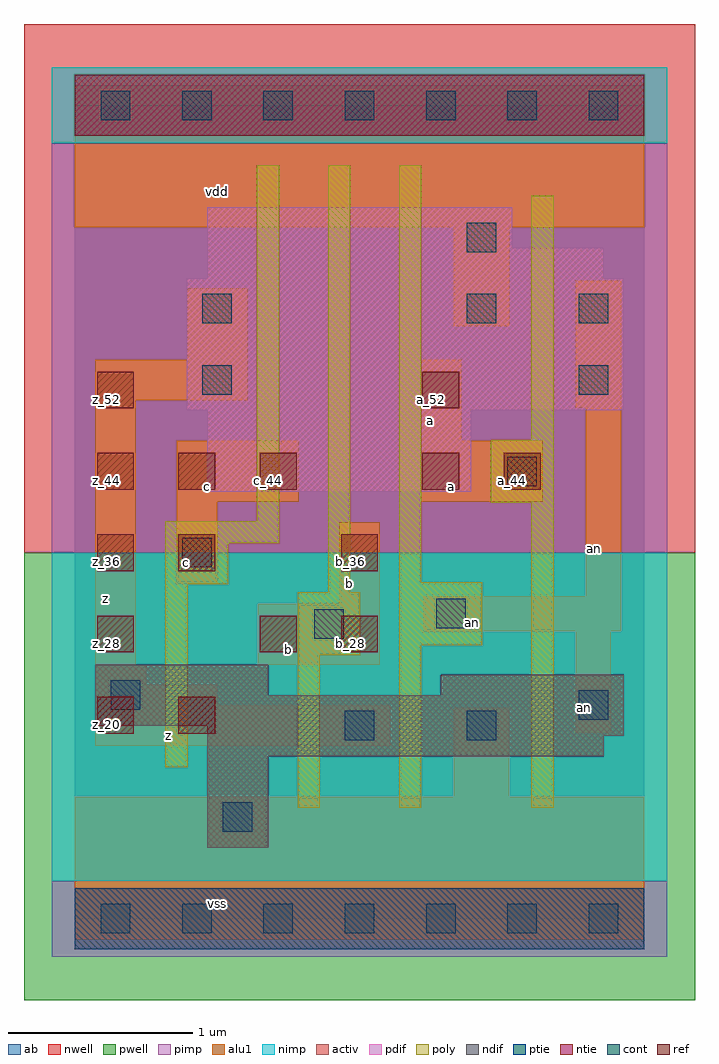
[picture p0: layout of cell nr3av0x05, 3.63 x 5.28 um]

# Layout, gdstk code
import gdstk
lib = gdstk.Library(unit=1e-6, precision=2.5e-09)
def R(c, l, rs):  # rectangles x0, y0, x1, y1
    for r in rs: c.add(gdstk.rectangle(r[:2], r[2:], *l))
def A(c, l, x, y, w, h, nx, ny, dx, dy):  # array of equal rectangles
    R(c, l, [(x+i*dx, y+j*dy, x+i*dx+w, y+j*dy+h) for i in range(nx) for j in range(ny)])
ndif = (3, 0)
pdif = (4, 0)
ntie = (5, 0)
ptie = (6, 0)
ref = (24, 0)
cont = (25, 0)
pwell = (41, 0)
nwell = (42, 0)
activ = (43, 0)
pimp = (44, 0)
nimp = (45, 0)
poly = (46, 0)
alu1 = (49, 0)
ab = (63, 0)

nr3av0x05 = lib.new_cell('nr3av0x05')
R(nr3av0x05, ndif, [(0.715,0.385,1.045,0.88), (0.715,0.88,2.86,0.99), (0.715,0.99,2.97,1.045), (0.11,1.045,2.97,1.21), (0.11,1.21,1.045,1.375), (1.98,1.21,2.97,1.32)])
R(nr3av0x05, pdif, [(0.715,2.31,2.145,2.75), (0.605,2.75,2.97,3.465), (0.715,3.465,2.86,3.63), (0.715,3.63,2.365,3.85)])
R(nr3av0x05, ntie, [(0,4.235,3.08,4.565)])
R(nr3av0x05, ptie, [(0,-0.165,3.08,0.165)])
A(nr3av0x05, ref, 0.12, 1, 0.2, 0.2, 1, 3, 0, 0.44)
A(nr3av0x05, ref, 0.12, 2.32, 0.2, 0.2, 3, 1, 0.44, 0)
R(nr3av0x05, ref, [(0.56,1,0.76,1.2), (1,1.44,1.2,1.64), (1.44,1.44,1.64,1.64), (0.56,1.88,0.76,2.08), (1.44,1.88,1.64,2.08), (1.88,2.32,2.08,2.52), (2.32,2.32,2.52,2.52), (0.12,2.76,0.32,2.96), (1.88,2.76,2.08,2.96)])
A(nr3av0x05, cont, 0.14, -0.08, 0.16, 0.16, 7, 2, 0.44, 4.4)
R(nr3av0x05, cont, [(0.8,0.47,0.96,0.63), (1.46,0.965,1.62,1.125), (2.12,0.965,2.28,1.125), (2.725,1.075,2.885,1.235), (0.195,1.13,0.355,1.29), (1.295,1.515,1.455,1.675), (1.955,1.57,2.115,1.73), (0.58,1.9,0.74,2.06), (2.34,2.34,2.5,2.5), (0.69,2.835,0.85,2.995), (2.725,2.835,2.885,2.995), (0.69,3.22,0.85,3.38), (2.12,3.22,2.28,3.38), (2.725,3.22,2.885,3.38), (2.12,3.605,2.28,3.765)])
R(nr3av0x05, pwell, [(-0.275,-0.44,3.355,1.98)])
R(nr3av0x05, nwell, [(-0.275,1.98,3.355,4.84)])
R(nr3av0x05, activ, [(0,-0.165,3.08,0.165), (0.715,0.385,1.045,0.88), (0.715,0.88,2.86,0.99), (0.715,0.99,2.97,1.045), (0.11,1.045,2.97,1.21), (0.11,1.21,1.045,1.375), (1.98,1.21,2.97,1.32), (0.715,2.31,2.145,2.75), (0.605,2.75,2.97,3.465), (0.715,3.465,2.86,3.63), (0.715,3.63,2.365,3.85), (0,4.235,3.08,4.565)])
R(nr3av0x05, pimp, [(-0.125,-0.205,3.205,0.205), (-0.125,1.98,3.205,4.195)])
R(nr3av0x05, nimp, [(-0.125,0.205,3.205,1.98), (-0.125,4.195,3.205,4.605)])
R(nr3av0x05, poly, [(1.205,0.6,1.325,1.425), (1.755,0.6,1.875,1.48), (2.47,0.6,2.59,2.25), (0.49,0.82,0.61,1.81), (1.205,1.425,1.545,1.765), (1.755,1.48,2.205,1.82), (1.37,1.765,1.49,4.075), (0.49,1.81,0.83,2.03), (1.755,1.82,1.875,4.075), (0.49,2.03,1.105,2.15), (0.985,2.15,1.105,4.075), (2.25,2.25,2.59,2.59), (2.47,2.59,2.59,3.91)])
R(nr3av0x05, alu1, [(0,-0.11,3.08,0.66), (2.05,0.66,2.35,1.14), (0.11,0.935,1.705,1.155), (2.71,1.005,2.9,1.555), (0.11,1.155,0.77,1.265), (0.11,1.265,0.385,1.375), (0.11,1.375,0.33,2.805), (0.99,1.375,1.65,1.705), (1.885,1.555,2.955,1.745), (1.43,1.705,1.65,2.145), (2.765,1.745,2.955,2.765), (0.55,1.815,0.77,2.255), (0.55,2.255,1.21,2.585), (1.87,2.255,2.53,2.585), (1.87,2.585,2.09,3.025), (2.71,2.765,2.955,3.45), (0.11,2.805,0.935,3.025), (0.605,3.025,0.935,3.41), (2.05,3.205,2.35,3.74), (0,3.74,3.08,4.51)])
R(nr3av0x05, ab, [(0,0,3.08,4.4)])
nr3av0x05.add(gdstk.Label('vss', (0.77,0.0825), layer=49, texttype=0))
nr3av0x05.add(gdstk.Label('an', (2.7575,1.1425), layer=49, texttype=0))
nr3av0x05.add(gdstk.Label('z', (0.5075,0.99), layer=49, texttype=0))
nr3av0x05.add(gdstk.Label('an', (2.1525,1.6025), layer=49, texttype=0))
nr3av0x05.add(gdstk.Label('b', (1.155,1.4575), layer=49, texttype=0))
nr3av0x05.add(gdstk.Label('an', (2.8125,2), layer=49, texttype=0))
nr3av0x05.add(gdstk.Label('b', (1.485,1.815), layer=49, texttype=0))
nr3av0x05.add(gdstk.Label('c', (0.605,1.925), layer=49, texttype=0))
nr3av0x05.add(gdstk.Label('a', (2.035,2.3375), layer=49, texttype=0))
nr3av0x05.add(gdstk.Label('c', (0.715,2.3375), layer=49, texttype=0))
nr3av0x05.add(gdstk.Label('a', (1.925,2.695), layer=49, texttype=0))
nr3av0x05.add(gdstk.Label('z', (0.165,1.7325), layer=49, texttype=0))
nr3av0x05.add(gdstk.Label('vdd', (0.77,3.9325), layer=49, texttype=0))
nr3av0x05.add(gdstk.Label('a_52', (1.93,2.81), layer=24, texttype=0))
nr3av0x05.add(gdstk.Label('z_20', (0.17,1.05), layer=24, texttype=0))
nr3av0x05.add(gdstk.Label('z_20', (0.61,1.05), layer=24, texttype=0))
nr3av0x05.add(gdstk.Label('c_36', (0.61,1.93), layer=24, texttype=0))
nr3av0x05.add(gdstk.Label('c_44', (0.61,2.37), layer=24, texttype=0))
nr3av0x05.add(gdstk.Label('z_28', (0.17,1.49), layer=24, texttype=0))
nr3av0x05.add(gdstk.Label('z_36', (0.17,1.93), layer=24, texttype=0))
nr3av0x05.add(gdstk.Label('z_44', (0.17,2.37), layer=24, texttype=0))
nr3av0x05.add(gdstk.Label('z_52', (0.17,2.81), layer=24, texttype=0))
nr3av0x05.add(gdstk.Label('a_44', (2.37,2.37), layer=24, texttype=0))
nr3av0x05.add(gdstk.Label('b_28', (1.05,1.49), layer=24, texttype=0))
nr3av0x05.add(gdstk.Label('b_36', (1.49,1.93), layer=24, texttype=0))
nr3av0x05.add(gdstk.Label('b_28', (1.49,1.49), layer=24, texttype=0))
nr3av0x05.add(gdstk.Label('c_44', (1.05,2.37), layer=24, texttype=0))
nr3av0x05.add(gdstk.Label('a_44', (1.93,2.37), layer=24, texttype=0))

lib.write_gds('nr3av0x05.gds')
